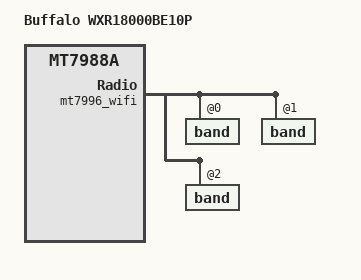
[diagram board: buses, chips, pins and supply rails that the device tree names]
// SPDX-License-Identifier: (GPL-2.0 OR MIT)

#include "mt7988a-buffalo-wxr18000be10p.dtsi"

/ {
	model = "Buffalo WXR18000BE10P";
	compatible = "buffalo,wxr18000be10p", "mediatek,mt7988a";

	chosen {
		bootargs-override = "earlycon=uart8250,mmio32,0x11000000 pci=pcie_bus_perf console=ttyS0,115200n1";
		stdout-path = "serial0:115200n1";
	};
};

&spi_nand {
	mediatek,nmbm;
	// TODO: Correct BMT settings
	mediatek,bmt-max-ratio = <1>;
	mediatek,bmt-max-reserved-blocks = <64>;

	partitions {
		compatible = "fixed-partitions";
		#address-cells = <1>;
		#size-cells = <1>;

		partition@0 {
			reg = <0x0 0x100000>;
			label = "BL2";
			read-only;
		};

		partition@100000 {
			reg = <0x100000 0x80000>;
			label = "u-boot-env";
			read-only;
		};

		partition@180000 {
			reg = <0x180000 0x400000>;
			label = "Factory";
			read-only;

			BUFFALO_WXR18000BE10P_FACTORY_LAYOUT;
		};

		partition@580000 {
			reg = <0x580000 0x200000>;
			label = "FIP";
			read-only;
		};

		partition@780000 {
			reg = <0x780000 0x80000>;
			label = "ORGDATA";
			read-only;
		};

		partition@800000 {
			reg = <0x800000 0x5000000>;
			compatible = "linux,ubi";
			label = "ubi";
		};

		partition@5800000 {
			reg = <0x5800000 0x5000000>;
			label = "rootfs-recover";
		};

		partition@a800000 {
			reg = <0xa800000 0x4800000>;
			label = "user_property";
		};

		/* 0xf000000 - 0x10000000 (16MB) reserved for NMBM */
	};
};

&gmac0 {
    nvmem-cells = <&macaddr_factory_ffff4>;
    nvmem-cell-names = "mac-address";
};

&gmac1 {
    nvmem-cells = <&macaddr_factory_ffff4>;
    nvmem-cell-names = "mac-address";
};

&gmac2 {
    nvmem-cells = <&macaddr_factory_ffff4>;
    nvmem-cell-names = "mac-address";
};

&mt7996_wifi {
    #address-cells = <1>;
    #size-cells = <0>;
    nvmem-cells = <&eeprom_factory_0>;
    nvmem-cell-names = "eeprom";

    band@0 {
        /* 2.4 GHz */
        reg = <0>;
        nvmem-cells = <&macaddr_factory_4>;
        nvmem-cell-names = "mac-address";
    };

    band@1 {
        /* 5 GHz */
        reg = <1>;
        nvmem-cells = <&macaddr_factory_a>;
        nvmem-cell-names = "mac-address";
    };

    band@2 {
        /* 6 GHz */
        reg = <2>;
        nvmem-cells = <&macaddr_factory_2c0>;
        nvmem-cell-names = "mac-address";
    };
};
